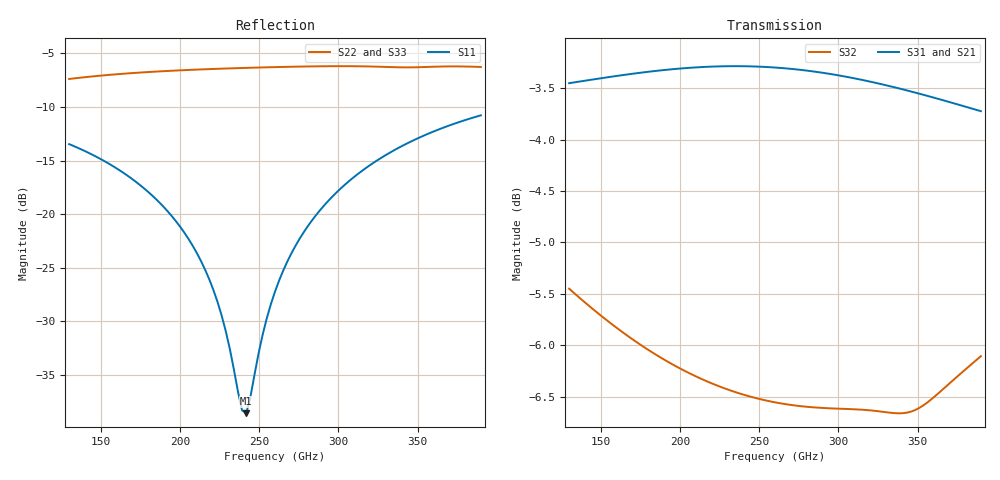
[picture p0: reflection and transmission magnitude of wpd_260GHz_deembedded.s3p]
! Created with skrf 2.0.1 (http://scikit-rf.org).
# GHz S DB R 50.0
!freq dBS11 angS11 dBS12 angS12 dBS13 angS13
! dBS21 angS21 dBS22 angS22 dBS23 angS23
! dBS31 angS31 dBS32 angS32 dBS33 angS33
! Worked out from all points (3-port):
!   101 points, 130 GHz to 390 GHz, reference 50 ohm
!   strongest paths, dB at 130 GHz, 195 GHz, 260 GHz, 325 GHz, 390 GHz:
!     S31: -3.5, -3.3, -3.3, -3.5, -3.7
!     S21: -3.5, -3.3, -3.3, -3.5, -3.7
!     S32: -5.4, -6.2, -6.6, -6.6, -6.1
!   lowest |S11| = -38.6 dB at 241.8 GHz (marker M1), VSWR 1.02, Z = 49 - j0.617 ohm
!   |S11| at or under -10 dB: start of sweep to end of sweep
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130  -13.47 146.5  -3.45 -41.1  -3.45 -41.1
     -3.45 -41.1  -7.39 55.3  -5.45 -97.3
     -3.45 -41.1  -5.45 -97.3  -7.40 55.3
174.2  -17.22 136.3  -3.36 -55.8  -3.35 -55.8
       -3.36 -55.8  -6.80 33.0  -5.99 -126.4
       -3.35 -55.8  -5.99 -126.4  -6.80 32.9
205.4  -22.32 131.5  -3.31 -66.4  -3.30 -66.4
       -3.31 -66.4  -6.55 19.9  -6.27 -146.2
       -3.30 -66.4  -6.27 -146.2  -6.56 19.8
223.6  -28.16 134.8  -3.29 -72.6  -3.29 -72.7
       -3.29 -72.6  -6.44 13.0  -6.39 -157.7
       -3.29 -72.7  -6.39 -157.7  -6.45 12.8
239.2  -38.32 -174.3  -3.29 -78.0  -3.29 -78.1
       -3.29 -78.0  -6.37 7.2  -6.48 -167.5
       -3.29 -78.1  -6.48 -167.5  -6.37 7.1
241.8  -38.60 -147.6  -3.29 -78.9  -3.29 -79.0
       -3.29 -78.9  -6.35 6.3  -6.49 -169.1
       -3.29 -79.0  -6.49 -169.1  -6.36 6.2
260  -27.24 -88.2  -3.30 -85.2  -3.30 -85.3
     -3.30 -85.2  -6.28 -0.2  -6.55 179.6
     -3.30 -85.3  -6.55 179.6  -6.29 -0.3
278.2  -21.68 -85.9  -3.33 -91.5  -3.33 -91.6
       -3.33 -91.5  -6.23 -6.6  -6.59 168.2
       -3.33 -91.6  -6.59 168.2  -6.24 -6.8
306.8  -16.92 -90.5  -3.40 -101.4  -3.39 -101.5
       -3.40 -101.4  -6.20 -16.9  -6.62 150.3
       -3.39 -101.5  -6.62 150.3  -6.20 -17.0
390  -10.78 -110.4  -3.73 -129.1  -3.72 -129.2
     -3.73 -129.1  -6.27 -49.1  -6.11 99.3
     -3.72 -129.2  -6.11 99.3  -6.28 -49.4
